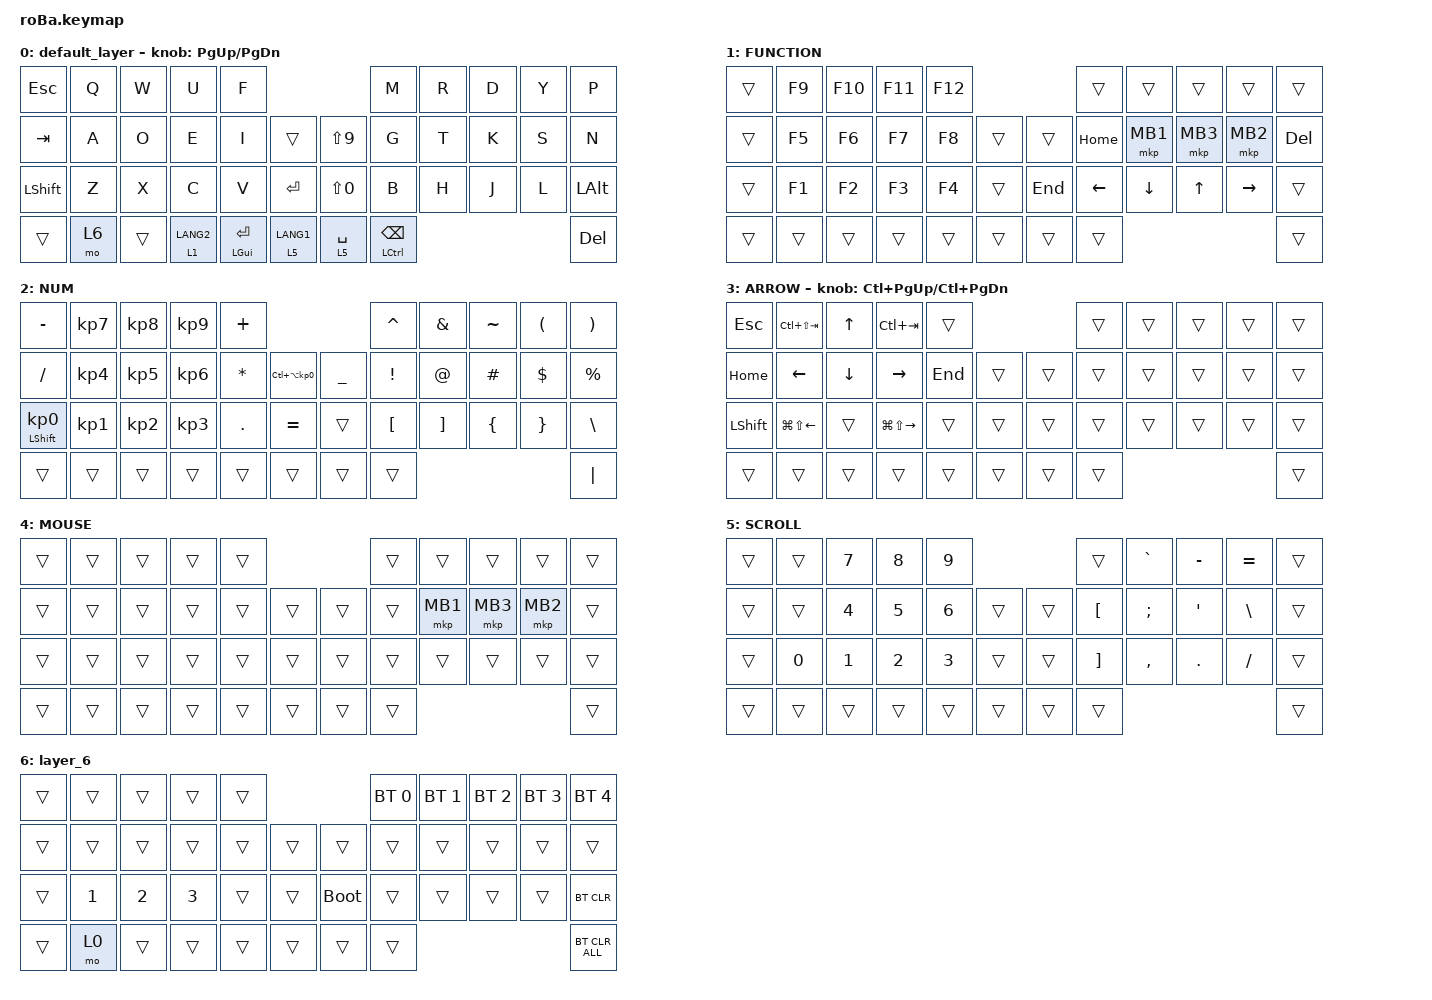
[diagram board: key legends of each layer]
#include <behaviors.dtsi>
#include <dt-bindings/zmk/bt.h>
#include <dt-bindings/zmk/keys.h>
#include <dt-bindings/zmk/pointing.h>

&mt {
    flavor = "balanced";
    quick-tap-ms = <0>;
};

&trackball {
    // automouse-layer = <4>;
    scroll-layers = <5>;

    // arrows {
    //     layers = <3>;
    //     bindings =
    //         <&kp RIGHT_ARROW>,
    //         <&kp LEFT_ARROW>,
    //         <&kp UP_ARROW>,
    //         <&kp DOWN_ARROW>;

    //     tick = <10>;
    //     wait-ms = <5>;
    //     tap-ms = <5>;
    // };
};

/ {
    combos {
        compatible = "zmk,combos";

        tab {
            bindings = <&kp TAB>;
            key-positions = <11 12>;
        };

        shift_tab {
            bindings = <&kp LS(TAB)>;
            key-positions = <12 13>;
        };

        muhennkann {
            bindings = <&to_layer_0 INT_MUHENKAN>;
            key-positions = <11 10>;
        };

        double_quotation {
            bindings = <&kp DOUBLE_QUOTES>;
            key-positions = <20 21>;
        };

        eq {
            bindings = <&kp EQUAL>;
            key-positions = <24 25>;
        };
    };

    macros {
        to_layer_0: to_layer_0 {
            compatible = "zmk,behavior-macro-one-param";
            #binding-cells = <1>;
            bindings = <&to 0 &macro_param_1to1 &kp MACRO_PLACEHOLDER>;
            label = "TO_LAYER_0";
        };
    };

    behaviors {
        lt_to_layer_0: lt_to_layer_0 {
            compatible = "zmk,behavior-hold-tap";
            label = "LAYER_TAP_TO_0";
            bindings = <&mo>, <&to_layer_0>;

            #binding-cells = <2>;
            tapping-term-ms = <200>;
        };
    };

    keymap {
        compatible = "zmk,keymap";

        default_layer {
            bindings = <
&kp ESCAPE  &kp Q  &kp W   &kp U        &kp F                                           &kp M                       &kp R  &kp D  &kp Y  &kp P
&kp TAB     &kp A  &kp O   &kp E        &kp I             &trans           &kp LS(N9)   &kp G                       &kp T  &kp K  &kp S  &kp N
&kp LSHFT   &kp Z  &kp X   &kp C        &kp V             &kp ENTER        &kp LS(N0)   &kp B                       &kp H  &kp J  &kp L  &kp LEFT_ALT
&trans      &mo 6  &trans  &lt 1 LANG2  &mt LEFT_GUI RET  &lt 5 LANG1      &lt 5 SPACE  &mt LEFT_CONTROL BACKSPACE                       &kp DELETE
            >;

            sensor-bindings = <&inc_dec_kp PG_UP PAGE_DOWN>;
        };

        FUNCTION {
            bindings = <
&trans  &kp F9  &kp F10  &kp F11  &kp F12                       &trans    &trans    &trans        &trans     &trans
&trans  &kp F5  &kp F6   &kp F7   &kp F8   &trans      &trans   &kp HOME  &mkp MB1  &mkp MB3      &mkp MB2   &kp DELETE
&trans  &kp F1  &kp F2   &kp F3   &kp F4   &trans      &kp END  &kp LEFT  &kp DOWN  &kp UP_ARROW  &kp RIGHT  &trans
&trans  &trans  &trans   &trans   &trans   &trans      &trans   &trans                                       &trans
            >;
        };

        NUM {
            bindings = <
&kp MINUS                   &kp KP_NUMBER_7  &kp KP_NUMBER_8  &kp KP_NUMBER_9  &kp PLUS                                                   &kp CARET         &kp AMPERSAND      &kp TILDE       &kp LEFT_PARENTHESIS  &kp RIGHT_PARENTHESIS
&kp SLASH                   &kp KP_NUMBER_4  &kp KP_NUMBER_5  &kp KP_NUMBER_6  &kp ASTERISK  &kp LC(LA(KP_NUMBER_0))      &kp UNDERSCORE  &kp EXCLAMATION   &kp AT_SIGN        &kp HASH        &kp DOLLAR            &kp PERCENT
&mt LEFT_SHIFT KP_NUMBER_0  &kp KP_NUMBER_1  &kp KP_NUMBER_2  &kp KP_NUMBER_3  &kp PERIOD    &kp EQUAL                    &trans          &kp LEFT_BRACKET  &kp RIGHT_BRACKET  &kp LEFT_BRACE  &kp RIGHT_BRACE       &kp BACKSLASH
&trans                      &trans           &trans           &trans           &trans        &trans                       &trans          &trans                                                                     &kp PIPE
            >;
        };

        ARROW {
            bindings = <
&kp ESCAPE      &kp LC(LS(TAB))         &kp UP_ARROW    &kp LC(TAB)              &trans                       &trans  &trans  &trans  &trans  &trans
&kp HOME        &kp LEFT_ARROW          &kp DOWN_ARROW  &kp RIGHT_ARROW          &kp END  &trans      &trans  &trans  &trans  &trans  &trans  &trans
&kp LEFT_SHIFT  &kp LG(LS(LEFT_ARROW))  &trans          &kp LG(LS(RIGHT_ARROW))  &trans   &trans      &trans  &trans  &trans  &trans  &trans  &trans
&trans          &trans                  &trans          &trans                   &trans   &trans      &trans  &trans                          &trans
            >;

            sensor-bindings = <&inc_dec_kp LC(PAGE_UP) LC(PAGE_DOWN)>;
        };

        MOUSE {
            bindings = <
&trans  &trans  &trans  &trans  &trans                      &trans  &trans    &trans    &trans    &trans
&trans  &trans  &trans  &trans  &trans  &trans      &trans  &trans  &mkp MB1  &mkp MB3  &mkp MB2  &trans
&trans  &trans  &trans  &trans  &trans  &trans      &trans  &trans  &trans    &trans    &trans    &trans
&trans  &trans  &trans  &trans  &trans  &trans      &trans  &trans                                &trans
            >;
        };

        SCROLL {
            bindings = <
&trans  &trans        &kp N7  &kp N8  &kp N9                      &trans             &kp GRAVE  &kp MINUS  &kp EQUAL  &trans
&trans  &trans        &kp N4  &kp N5  &kp N6  &trans      &trans  &kp LEFT_BRACKET   &kp SEMI   &kp APOS   &kp BSLH   &trans
&trans  &kp NUMBER_0  &kp N1  &kp N2  &kp N3  &trans      &trans  &kp RIGHT_BRACKET  &kp COMMA  &kp DOT    &kp FSLH   &trans
&trans  &trans        &trans  &trans  &trans  &trans      &trans  &trans                                              &trans
            >;
        };

        layer_6 {
            bindings = <
&trans  &trans        &trans        &trans        &trans                           &bt BT_SEL 0  &bt BT_SEL 1  &bt BT_SEL 2  &bt BT_SEL 3  &bt BT_SEL 4
&trans  &trans        &trans        &trans        &trans  &trans      &trans       &trans        &trans        &trans        &trans        &trans
&trans  &kp NUMBER_1  &kp NUMBER_2  &kp NUMBER_3  &trans  &trans      &bootloader  &trans        &trans        &trans        &trans        &bt BT_CLR
&trans  &mo 0         &trans        &trans        &trans  &trans      &trans       &trans                                                  &bt BT_CLR_ALL
            >;
        };
    };
};
